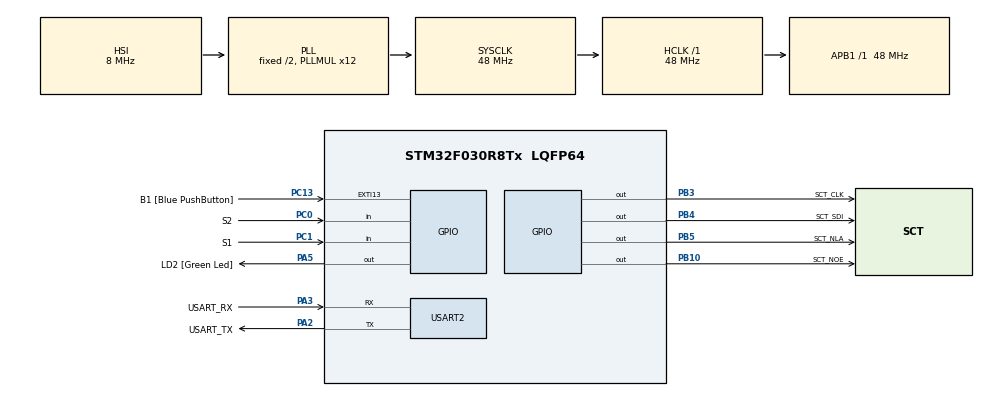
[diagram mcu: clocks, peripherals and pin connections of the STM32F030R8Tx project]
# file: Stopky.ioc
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Mcu.Family=STM32F0
Mcu.Name=STM32F030R8Tx
Mcu.Package=LQFP64
PA13.GPIO_Label=TMS
PA13.Mode=Serial_Wire
PA13.Signal=SYS_SWDIO
PA14.GPIO_Label=TCK
PA14.Mode=Serial_Wire
PA14.Signal=SYS_SWCLK
PA2.GPIO_Label=USART_TX
PA2.GPIO_Mode=GPIO_MODE_AF_PP
PA2.GPIO_PuPd=GPIO_NOPULL
PA2.GPIO_Speed=GPIO_SPEED_FREQ_LOW
PA2.Mode=Asynchronous
PA2.Signal=USART2_TX
PA3.GPIO_Label=USART_RX
PA3.GPIO_Mode=GPIO_MODE_AF_PP
PA3.GPIO_PuPd=GPIO_NOPULL
PA3.GPIO_Speed=GPIO_SPEED_FREQ_LOW
PA3.Mode=Asynchronous
PA3.Signal=USART2_RX
PA5.GPIO_Label=LD2 [Green Led]
PA5.GPIO_Mode=GPIO_MODE_OUTPUT_PP
PA5.GPIO_PuPd=GPIO_NOPULL
PA5.GPIO_Speed=GPIO_SPEED_FREQ_LOW
PA5.Signal=GPIO_Output
PB10.GPIO_Label=SCT_NOE
PB10.Signal=GPIO_Output
PB3.GPIO_Label=SCT_CLK
PB3.Signal=GPIO_Output
PB4.GPIO_Label=SCT_SDI
PB4.Signal=GPIO_Output
PB5.GPIO_Label=SCT_NLA
PB5.Signal=GPIO_Output
PC0.GPIO_Label=S2
PC0.GPIO_PuPd=GPIO_PULLUP
PC0.Signal=GPIO_Input
PC1.GPIO_Label=S1
PC1.GPIO_PuPd=GPIO_PULLUP
PC1.Signal=GPIO_Input
PC13.GPIO_Label=B1 [Blue PushButton]
PC13.GPIO_ModeDefaultEXTI=GPIO_MODE_IT_FALLING
PC13.Signal=GPXTI13
PC14-OSC32_IN.Mode=LSE-External-Oscillator
PC14-OSC32_IN.Signal=RCC_OSC32_IN
PC15-OSC32_OUT.Mode=LSE-External-Oscillator
PC15-OSC32_OUT.Signal=RCC_OSC32_OUT
PF0-OSC_IN.Mode=HSE-External-Clock-Source
PF0-OSC_IN.Signal=RCC_OSC_IN
PF1-OSC_OUT.Signal=RCC_OSC_OUT
ProjectManager.HeapSize=0x200
ProjectManager.StackSize=0x400
ProjectManager.TargetToolchain=STM32CubeIDE
RCC.AHBFreq_Value=48000000
RCC.APB1Freq_Value=48000000
RCC.APB1TimFreq_Value=48000000
RCC.HCLKFreq_Value=48000000
RCC.PLLMUL=RCC_PLL_MUL12
RCC.SYSCLKFreq_VALUE=48000000
RCC.SYSCLKSource=RCC_SYSCLKSOURCE_PLLCLK
USART2.VirtualMode-Asynchronous=VM_ASYNC
board=NUCLEO-F030R8

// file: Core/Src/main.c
/* USER CODE BEGIN Header */
/**
 ******************************************************************************
 * @file           : main.c
 * @brief          : Main program body
 ******************************************************************************
 * @attention
 *
 * Copyright (c) 2024 STMicroelectronics.
 * All rights reserved.
 *
 * This software is licensed under terms that can be found in the LICENSE file
 * in the root directory of this software component.
 * If no LICENSE file comes with this software, it is provided AS-IS.
 *
 ******************************************************************************
 */
/* USER CODE END Header */
#include "main.h"

/* USER CODE BEGIN Includes */
#include "sct.h"
/* USER CODE END Includes */

UART_HandleTypeDef huart2;

void SystemClock_Config(void);
static void MX_GPIO_Init(void);
static void MX_USART2_UART_Init(void);

int main(void)
{

	/* MCU Configuration--------------------------------------------------------*/

	/* Reset of all peripherals, Initializes the Flash interface and the Systick. */
	HAL_Init();

	/* Configure the system clock */
	SystemClock_Config();

	/* Initialize all configured peripherals */
	MX_GPIO_Init();
	MX_USART2_UART_Init();
	sct_init();
	/* USER CODE BEGIN 2 */
	uint32_t TimeInMS = 0;
	uint8_t min = 0;
	uint8_t running = 1;
	static uint32_t resetTime = 0;
	/* USER CODE END 2 */

	/* Infinite loop */
	while (1)
	{

		/* USER CODE BEGIN 3 */

		if(HAL_GPIO_ReadPin(S2_GPIO_Port, S2_Pin) == 0) // stop
		{
			running = 0;
		}

		if((HAL_GPIO_ReadPin(S1_GPIO_Port, S1_Pin) == 0) || min == 8) // reset with button and 8 minutes
		{
			min = 0;
		}

		if((HAL_GPIO_ReadPin(S1_GPIO_Port, S1_Pin) == 0) || TimeInMS == 60*1000 || min == 8) // reset with button or 6 seconds
		{
			TimeInMS = 0;
			running = 1;
			resetTime = HAL_GetTick();
			sct_value(0, 0, 2);
		}

		if(running == 1)
		{
			TimeInMS = HAL_GetTick() - resetTime;
			sct_value(TimeInMS/100, min, 2);
		}
		else
		{
			sct_value(TimeInMS/100, min, 2);
		}

		if(TimeInMS == 60*1000){
			min++;
			sct_value(0,min,2);
		}
	}

	/* USER CODE END 3 */
}

void SystemClock_Config(void)
{
	RCC_OscInitTypeDef RCC_OscInitStruct = {0};
	RCC_ClkInitTypeDef RCC_ClkInitStruct = {0};

	/** Initializes the RCC Oscillators according to the specified parameters
	 * in the RCC_OscInitTypeDef structure.
	 */
	RCC_OscInitStruct.OscillatorType = RCC_OSCILLATORTYPE_HSI;
	RCC_OscInitStruct.HSIState = RCC_HSI_ON;
	RCC_OscInitStruct.HSICalibrationValue = RCC_HSICALIBRATION_DEFAULT;
	RCC_OscInitStruct.PLL.PLLState = RCC_PLL_ON;
	RCC_OscInitStruct.PLL.PLLSource = RCC_PLLSOURCE_HSI;
	RCC_OscInitStruct.PLL.PLLMUL = RCC_PLL_MUL12;
	RCC_OscInitStruct.PLL.PREDIV = RCC_PREDIV_DIV1;
	if (HAL_RCC_OscConfig(&RCC_OscInitStruct) != HAL_OK)
	{
		Error_Handler();
	}

	/** Initializes the CPU, AHB and APB buses clocks
	 */
	RCC_ClkInitStruct.ClockType = RCC_CLOCKTYPE_HCLK|RCC_CLOCKTYPE_SYSCLK
			|RCC_CLOCKTYPE_PCLK1;
	RCC_ClkInitStruct.SYSCLKSource = RCC_SYSCLKSOURCE_PLLCLK;
	RCC_ClkInitStruct.AHBCLKDivider = RCC_SYSCLK_DIV1;
	RCC_ClkInitStruct.APB1CLKDivider = RCC_HCLK_DIV1;

	if (HAL_RCC_ClockConfig(&RCC_ClkInitStruct, FLASH_LATENCY_1) != HAL_OK)
	{
		Error_Handler();
	}
}

static void MX_USART2_UART_Init(void)
{

	huart2.Instance = USART2;
	huart2.Init.BaudRate = 38400;
	huart2.Init.WordLength = UART_WORDLENGTH_8B;
	huart2.Init.StopBits = UART_STOPBITS_1;
	huart2.Init.Parity = UART_PARITY_NONE;
	huart2.Init.Mode = UART_MODE_TX_RX;
	huart2.Init.HwFlowCtl = UART_HWCONTROL_NONE;
	huart2.Init.OverSampling = UART_OVERSAMPLING_16;
	huart2.Init.OneBitSampling = UART_ONE_BIT_SAMPLE_DISABLE;
	huart2.AdvancedInit.AdvFeatureInit = UART_ADVFEATURE_NO_INIT;
	if (HAL_UART_Init(&huart2) != HAL_OK)
	{
		Error_Handler();
	}

}

static void MX_GPIO_Init(void)
{
	GPIO_InitTypeDef GPIO_InitStruct = {0};

	/* GPIO Ports Clock Enable */
	__HAL_RCC_GPIOC_CLK_ENABLE();
	__HAL_RCC_GPIOF_CLK_ENABLE();
	__HAL_RCC_GPIOA_CLK_ENABLE();
	__HAL_RCC_GPIOB_CLK_ENABLE();

	/*Configure GPIO pin Output Level */
	HAL_GPIO_WritePin(LD2_GPIO_Port, LD2_Pin, GPIO_PIN_RESET);

	/*Configure GPIO pin Output Level */
	HAL_GPIO_WritePin(GPIOB, SCT_NOE_Pin|SCT_CLK_Pin|SCT_SDI_Pin|SCT_NLA_Pin, GPIO_PIN_RESET);

	/*Configure GPIO pin : B1_Pin */
	GPIO_InitStruct.Pin = B1_Pin;
	GPIO_InitStruct.Mode = GPIO_MODE_IT_FALLING;
	GPIO_InitStruct.Pull = GPIO_NOPULL;
	HAL_GPIO_Init(B1_GPIO_Port, &GPIO_InitStruct);

	/*Configure GPIO pins : S2_Pin S1_Pin */
	GPIO_InitStruct.Pin = S2_Pin|S1_Pin;
	GPIO_InitStruct.Mode = GPIO_MODE_INPUT;
	GPIO_InitStruct.Pull = GPIO_PULLUP;
	HAL_GPIO_Init(GPIOC, &GPIO_InitStruct);

	/*Configure GPIO pin : LD2_Pin */
	GPIO_InitStruct.Pin = LD2_Pin;
	GPIO_InitStruct.Mode = GPIO_MODE_OUTPUT_PP;
	GPIO_InitStruct.Pull = GPIO_NOPULL;
	GPIO_InitStruct.Speed = GPIO_SPEED_FREQ_LOW;
	HAL_GPIO_Init(LD2_GPIO_Port, &GPIO_InitStruct);

	/*Configure GPIO pins : SCT_NOE_Pin SCT_CLK_Pin SCT_SDI_Pin SCT_NLA_Pin */
	GPIO_InitStruct.Pin = SCT_NOE_Pin|SCT_CLK_Pin|SCT_SDI_Pin|SCT_NLA_Pin;
	GPIO_InitStruct.Mode = GPIO_MODE_OUTPUT_PP;
	GPIO_InitStruct.Pull = GPIO_NOPULL;
	GPIO_InitStruct.Speed = GPIO_SPEED_FREQ_LOW;
	HAL_GPIO_Init(GPIOB, &GPIO_InitStruct);

}

void Error_Handler(void)
{
	__disable_irq();
	while (1)
	{
	}
}
